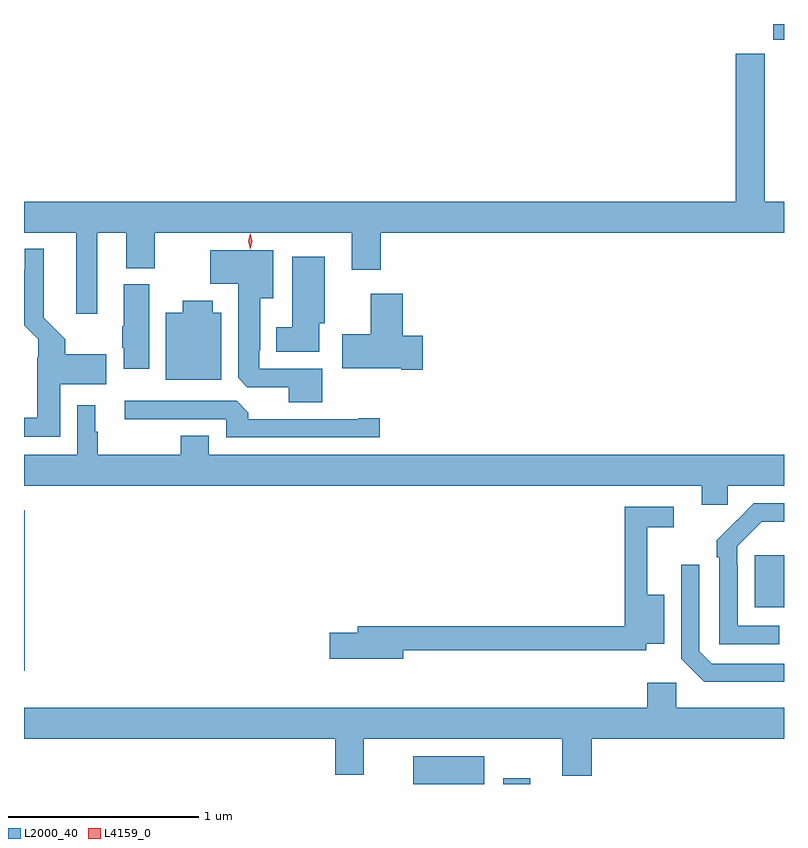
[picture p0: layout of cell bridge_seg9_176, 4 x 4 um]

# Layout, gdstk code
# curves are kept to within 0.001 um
import gdstk
lib = gdstk.Library(unit=1e-6, precision=1e-09)
def R(c, l, rs):  # rectangles x0, y0, x1, y1
    for r in rs: c.add(gdstk.rectangle(r[:2], r[2:], *l))
def P(c, l, *ps):  # polygons
    for p in ps: c.add(gdstk.Polygon(p, *l))
L2000_40 = (2000, 40)
L4159_0 = (4159, 0)

bridge_seg9_176 = lib.new_cell('bridge_seg9_176')
R(bridge_seg9_176, L2000_40, [(156.897,1238.807,157.27,1238.953), (157.37,1238.807,157.513,1238.836), (154.848,1239.402,154.853,1240.249), (158.693,1239.737,158.848,1240.012), (158.792,1242.723,158.848,1242.807)])
P(bridge_seg9_176, L2000_40, [(155.233,1241.708),(155.387,1241.708),(155.387,1241.521),(155.535,1241.521),(155.535,1241.708),(156.572,1241.708),(156.572,1241.514),(156.725,1241.514),(156.725,1241.708),(158.848,1241.708),(158.848,1241.872),(158.746,1241.872),(158.746,1242.651),(158.594,1242.651),(158.594,1241.872),(154.848,1241.872),(154.848,1241.708),(155.123,1241.708),(155.123,1241.283),(155.233,1241.283)],
  [(155.038,1240.91),(155.281,1240.91),(155.281,1241.068),(155.064,1241.068),(155.064,1241.147),(154.951,1241.26),(154.951,1241.623),(154.853,1241.623),(154.853,1241.513),(154.849,1241.513),(154.849,1241.222),(154.923,1241.148),(154.923,1241.054),(154.919,1241.054),(154.919,1240.735),(154.848,1240.735),(154.848,1240.634),(155.038,1240.634)],
  [(156.418,1240.992),(156.087,1240.992),(156.087,1241.089),(156.091,1241.089),(156.091,1241.363),(156.16,1241.363),(156.16,1241.617),(155.828,1241.617),(155.828,1241.441),(155.975,1241.441),(155.975,1240.945),(156.024,1240.896),(156.242,1240.896),(156.242,1240.817),(156.418,1240.817)],
  [(156.403,1241.232),(156.43,1241.232),(156.43,1241.581),(156.26,1241.581),(156.26,1241.212),(156.176,1241.212),(156.176,1241.081),(156.403,1241.081)],
  [(155.506,1241.436),(155.372,1241.436),(155.372,1241.217),(155.365,1241.217),(155.365,1241.104),(155.372,1241.104),(155.372,1240.992),(155.506,1240.992)],
  [(156.946,1241.165),(156.842,1241.165),(156.842,1241.386),(156.674,1241.386),(156.674,1241.175),(156.522,1241.175),(156.522,1240.994),(156.833,1240.994),(156.833,1240.987),(156.946,1240.987)],
  [(155.887,1241.287),(155.842,1241.287),(155.842,1241.35),(155.684,1241.35),(155.684,1241.287),(155.594,1241.287),(155.594,1240.934),(155.887,1240.934)],
  [(156.721,1240.733),(156.608,1240.733),(156.608,1240.728),(156.029,1240.728),(156.029,1240.762),(155.967,1240.824),(155.379,1240.824),(155.379,1240.728),(155.913,1240.728),(155.913,1240.632),(156.721,1240.632)],
  [(158.553,1240.376),(158.848,1240.376),(158.848,1240.54),(155.821,1240.54),(155.821,1240.639),(155.674,1240.639),(155.674,1240.54),(155.236,1240.54),(155.236,1240.662),(155.224,1240.662),(155.224,1240.801),(155.127,1240.801),(155.127,1240.54),(154.848,1240.54),(154.848,1240.376),(158.414,1240.376),(158.414,1240.278),(158.553,1240.278)],
  [(158.824,1239.639),(158.604,1239.639),(158.604,1239.959),(158.601,1239.959),(158.601,1240.059),(158.73,1240.188),(158.848,1240.188),(158.848,1240.284),(158.69,1240.284),(158.493,1240.089),(158.493,1240.001),(158.508,1240.001),(158.508,1239.543),(158.824,1239.543)],
  [(156.844,1239.51),(158.124,1239.51),(158.124,1239.545),(158.218,1239.545),(158.218,1239.802),(158.129,1239.802),(158.129,1240.158),(158.269,1240.158),(158.269,1240.266),(158.011,1240.266),(158.011,1239.638),(156.605,1239.638),(156.605,1239.602),(156.456,1239.602),(156.456,1239.467),(156.844,1239.467)],
  [(158.848,1239.441),(158.469,1239.441),(158.403,1239.507),(158.403,1239.961),(158.307,1239.961),(158.307,1239.465),(158.428,1239.344),(158.848,1239.344)],
  [(157.835,1239.044),(158.848,1239.044),(158.848,1239.208),(158.28,1239.208),(158.28,1239.34),(158.129,1239.34),(158.129,1239.208),(154.848,1239.208),(154.848,1239.044),(156.485,1239.044),(156.485,1238.855),(156.637,1238.855),(156.637,1239.044),(157.682,1239.044),(157.682,1238.85),(157.835,1238.85)])
P(bridge_seg9_176, L4159_0, [(156.038,1241.622),(156.038,1241.622),(156.028,1241.663),(156.038,1241.703),(156.038,1241.704),(156.038,1241.703),(156.048,1241.663),(156.038,1241.622)])

lib.write_gds('bridge_seg9_176.gds')
